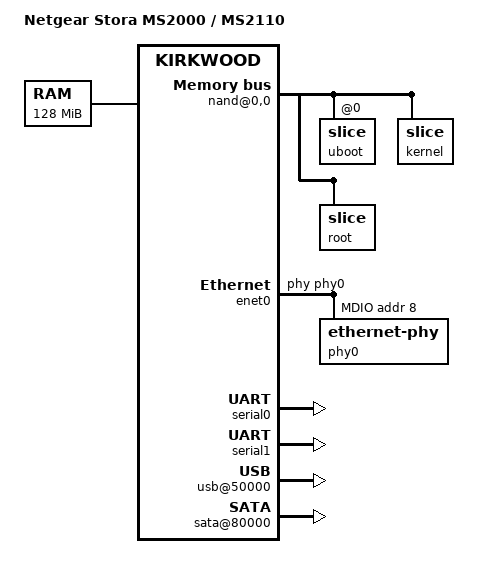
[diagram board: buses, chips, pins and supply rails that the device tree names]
/dts-v1/;

/ {
    model = "Netgear Stora MS2000 / MS2110";
    compatible = "netgear,stora,ms2000,ms2110", "netgear,stora", "marvell,kirkwood-88f6281", "marvell,kirkwood", "DB-88F6281-BP", "DB-88F6281-BP-A";
        #address-cells = <1>;
        #size-cells = <1>;

        aliases {
                ethernet0 = &enet0;
                mpp = &MPP;
                serial0 = &serial0;
                serial1 = &serial1;
                soc = &SOC;
                sram = &SRAM;
        };

        cpus {
                #address-cells = <1>;
                #size-cells = <0>;

                cpu@0 {
                        device_type = "cpu";
                        compatible = "ARM,88FR131";
                        reg = <0x0>;
                        d-cache-line-size = <32>;       // 32 bytes
                        i-cache-line-size = <32>;       // 32 bytes
                        d-cache-size = <0x4000>;        // L1, 16K
                        i-cache-size = <0x4000>;        // L1, 16K
                        timebase-frequency = <0>;
                        bus-frequency = <0>;
                        clock-frequency = <0>;
                };
        };

        memory {
                device_type = "memory";
                reg = <0x0 0x8000000>;          // 128M at 0x0
        };

        localbus@0 {
                #address-cells = <2>;
                #size-cells = <1>;
                compatible = "mrvl,lbc";
                bank-count = <3>;

                /* This reflects CPU decode windows setup. */
                ranges = <0x0 0x2f 0xf9300000 0x00100000>;

                nand@0,0 {
                        #address-cells = <1>;
                        #size-cells = <1>;
                        compatible = "mrvl,nfc";
                        reg = <0x0 0x0 0x00100000>;
                        bank-width = <2>;
                        device-width = <1>;

                        slice@0 {
                                reg = <0x0 0x100000>;
                                label = "uboot";
                                read-only;
                        };

                        slice@100000 {
                                reg = <0x100000 0x400000>;
                                label = "kernel";
                        };

                        slice@500000 {
                                reg = <0x500000 0x0fa00000>;
                                label = "root";
                        };
                };
        };

        SOC: soc88f6281@f1000000 {
                #address-cells = <1>;
                #size-cells = <1>;
                compatible = "simple-bus";
                ranges = <0x0 0xf1000000 0x00100000>;
                bus-frequency = <0>;

                PIC: pic@20200 {
                        interrupt-controller;
                        #address-cells = <0>;
                        #interrupt-cells = <1>;
                        reg = <0x20200 0x3c>;
                        compatible = "mrvl,pic";
                };

                timer@20300 {
                        compatible = "mrvl,timer";
                        reg = <0x20300 0x30>;
                        interrupts = <1>;
                        interrupt-parent = <&PIC>;
                        mrvl,has-wdt;
                };

                MPP: mpp@10000 {
                        #pin-cells = <2>;
                        compatible = "mrvl,mpp";
                        reg = <0x10000 0x34>;
                        pin-count = <50>;
                        pin-map = <
                                 0 1            /* !MPP[ 0]:  SPI_SCn */
                                 1 1            /* !MPP[ 1]:  SPI_MOSI */
                                 2 1            /* !MPP[ 2]:  SPI_SCK */
                                 3 1            /* !MPP[ 3]:  SPI_MISO */
                                 4 1            /* ++MPP[ 4]: NF_IO[6] */
                                 5 1            /* ++MPP[ 5]: NF_IO[7] */
                                 6 1            /* ++MPP[ 6]: SYSRST_OUTn */
                                 7 2            /* MPP[ 7]: GPO[7] */
                                 8 1            /* ++MPP[ 8]: TW_SDA */
                                 9 1            /* ++MPP[ 9]: TW_SCK */
                                10 3            /* ++MPP[10]: UA0_TXD */
                                11 3            /* ++MPP[11]: UA0_RXD */
                                12 1            /* ++MPP[12]: SD_CLK */
                                13 1            /* ++MPP[13]: SD_CMD */
                                14 1            /* ++MPP[14]: SD_D[0] */
                                15 1            /* ++MPP[15]: SD_D[1] */
                                16 1            /* ++MPP[16]: SD_D[2] */
                                17 1            /* ++MPP[17]: SD_D[3] */
                                18 1            /* ++MPP[18]: NF_IO[0] */
                                19 1            /* ++MPP[19]: NF_IO[1] */
                                20 4            /* MPP[20]: GE1[ 0] */
                                21 4            /* MPP[21]: GE1[ 1] */
                                22 2            /* MPP[22]: GE1[ 2] */
                                23 2            /* MPP[23]: GE1[ 3] */
                                24 3            /* MPP[24]: GE1[ 4] */
                                25 3            /* MPP[25]: GE1[ 5] */
                                26 3            /* MPP[26]: GE1[ 6] */
                                27 3            /* MPP[27]: GE1[ 7] */
                                28 3            /* MPP[28]: GE1[ 8] */
                                29 3            /* MPP[29]: GE1[ 9] */
                                30 3            /* MPP[30]: GE1[10] */
                                31 3            /* MPP[31]: GE1[11] */
                                32 3            /* MPP[32]: GE1[12] */
                                33 3            /* MPP[33]: GE1[13] */
                                34 3            /* MPP[34]: GE1[14] */
                                35 3            /* MPP[35]: GE1[15] */
                                36 0            /* ++MPP[36]: GPIO[36] */
                                37 0            /* ++MPP[37]: GPIO[37] */
                                38 0            /* MPP[38]: GPIO[38] */
                                39 0            /* MPP[39]: GPIO[39] */
                                40 2            /* MPP[40]: TDM_SPI_SCK */
                                41 2            /* MPP[41]: TDM_SPI_MISO */
                                42 2            /* MPP[42]: TDM_SPI_MOSI */
                                43 0            /* ++MPP[43]: GPIO[43] */
                                44 0            /* ++MPP[44]: GPIO[44] */
                                45 0            /* ++MPP[45]: GPIO[45] */
                                46 0            /* ++MPP[46]: GPIO[46] */
                                47 0            /* ++MPP[47]: GPIO[47] */
                                48 0            /* ++MPP[48]: GPIO[48] */
                                49 0            /* ++MPP[49]: GPIO[49] */
                                >;
                };

                GPIO: gpio@10100 {
                        #gpio-cells = <3>;
                        compatible = "mrvl,gpio";
                        reg = <0x10100 0x20>;
                        gpio-controller;
                        interrupts = <35 36 37 38 39 40 41>;
                        interrupt-parent = <&PIC>;
                };

                rtc@10300 {
                        compatible = "mrvl,rtc";
                        reg = <0x10300 0x08>;
                };

                twsi@11000 {
                        #address-cells = <1>;
                        #size-cells = <0>;
                        compatible = "mrvl,twsi";
                        reg = <0x11000 0x20>;
                        interrupts = <43>;
                        interrupt-parent = <&PIC>;
                };

                enet0: ethernet@72000 {
                        #address-cells = <1>;
                        #size-cells = <1>;
                        model = "V2";
                        compatible = "mrvl,ge";
                        reg = <0x72000 0x2000>;
                        ranges = <0x0 0x72000 0x2000>;
                        local-mac-address = [ 00 00 00 00 00 00 ];
                        interrupts = <12 13 14 11 46>;
                        interrupt-parent = <&PIC>;
                        phy-handle = <&phy0>;

                        mdio@0 {
                                #address-cells = <1>;
                                #size-cells = <0>;
                                compatible = "mrvl,mdio";

                                phy0: ethernet-phy@0 {
                                        reg = <0x8>;
                                };
                        };
                };

                serial0: serial@12000 {
                        compatible = "ns16550";
                        reg = <0x12000 0x20>;
                        reg-shift = <2>;
                        clock-frequency = <0>;
                        interrupts = <33>;
                        interrupt-parent = <&PIC>;
                };

                serial1: serial@12100 {
                        compatible = "ns16550";
                        reg = <0x12100 0x20>;
                        reg-shift = <2>;
                        clock-frequency = <0>;
                        interrupts = <34>;
                        interrupt-parent = <&PIC>;
                };

                usb@50000 {
                        compatible = "mrvl,usb-ehci", "usb-ehci";
                        reg = <0x50000 0x1000>;
                        interrupts = <48 19>;
                        interrupt-parent = <&PIC>;
                };

                xor@60000 {
                        compatible = "mrvl,xor";
                        reg = <0x60000 0x1000>;
                        interrupts = <5 6 7 8>;
                        interrupt-parent = <&PIC>;
                };

                sata@80000 {
                        compatible = "mrvl,sata";
                        reg = <0x80000 0x6000>;
                        interrupts = <21>;
                        interrupt-parent = <&PIC>;
                };
        };

        SRAM: sram@fd000000 {
                compatible = "mrvl,cesa-sram";
                reg = <0xfd000000 0x00100000>;
        };

        chosen {
                stdin = "serial0";
                stdout = "serial0";
        };
};

